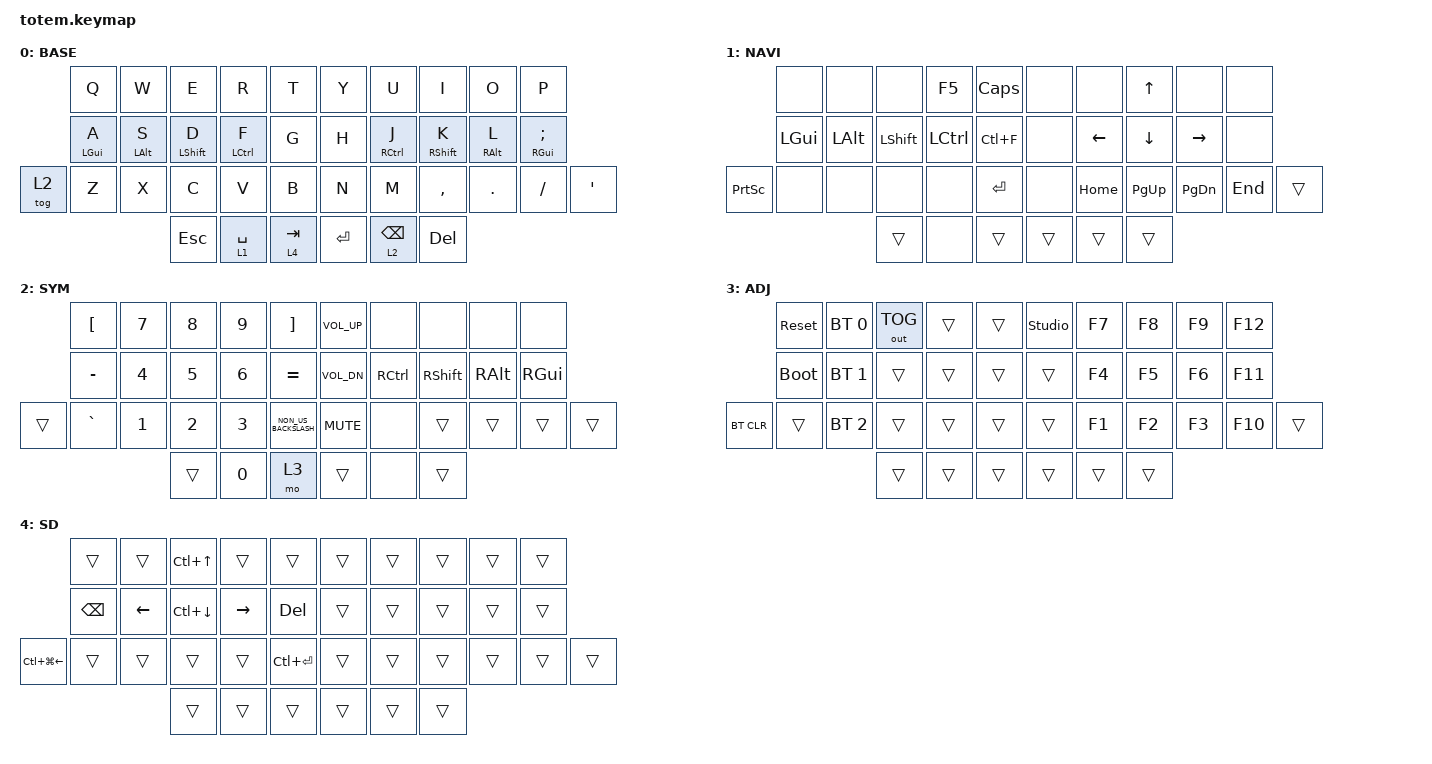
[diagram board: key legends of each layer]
//
//                                                        ▀▀▀▀▀     ▀▀▀▀▀          ▀▀█▀▀
//                                                        ▄▀▀▀▄  ▄  ▄▀▀▀▄  ▄  ▄▀▀▀▄  █  ▄▀▀▀▄
//                                                        █   █  █  █   █  █  █   █  █  █   █
//                                                         ▀▀▀   █   ▀▀▀   █   ▀▀▀   ▀   ▀▀▀
//                                                               █      ▄▄▄█▄▄▄    █   █  
//                                                               ▀      █  █  █     █▄█
//                                                             ▀▀▀▀▀    █  █  █      ▀
//                                                                      ▀  ▀  ▀
//
// ▄▄▄▄▄▄▄▄▄▄▄▄▄▄▄▄▄▄▄▄▄▄▄▄▄▄▄▄▄▄▄▄▄▄▄▄▄▄▄▄▄▄▄▄▄▄▄▄▄▄▄▄▄▄▄▄▄▄▄▄▄▄▄▄▄▄▄▄▄▄▄▄▄▄▄▄▄▄▄▄▄▄▄▄▄▄▄▄▄▄▄▄▄▄▄▄▄▄▄▄▄▄▄▄▄▄▄▄▄▄▄▄▄▄▄▄▄▄▄▄▄▄▄▄▄▄▄▄▄▄▄▄▄▄▄▄▄▄▄▄▄▄▄▄▄▄▄▄▄

#include <behaviors.dtsi>
#include <dt-bindings/zmk/bt.h>
#include <dt-bindings/zmk/keys.h>
#include <dt-bindings/zmk/outputs.h>

#define BASE 0
#define NAV  1
#define SYM  2
#define ADJ  3
#define TVP1 4
#define TVP2 5

&mt {
    quick-tap-ms = <175>;
    global-quick-tap;
    flavor = "tap-preferred";
    tapping-term-ms = <190>;
};

&lt {
    quick-tap-ms = <175>;
    tapping-term-ms = <190>;
};

/ {
    combos { compatible = "zmk,combos"; };

    macros {
        gif: gif {
            compatible = "zmk,behavior-macro";
            #binding-cells = <0>;
            bindings =
                <&macro_press>,
                <&kp LSHFT>,
                <&macro_tap>,
                <&kp N2>,
                <&macro_release>,
                <&kp LSHFT>,
                <&macro_tap>,
                <&kp G &kp I &kp F>;
        };
    };

    keymap {
        compatible = "zmk,keymap";

        // ▄▄▄▄▄▄▄▄▄▄▄▄▄▄▄▄▄▄▄▄▄▄▄▄▄▄▄▄▄▄▄▄▄▄▄▄▄▄▄▄▄▄▄▄▄▄▄▄▄▄▄▄▄▄▄▄▄▄▄▄▄▄▄▄▄▄▄▄▄▄▄▄▄▄▄▄▄▄▄▄▄▄▄▄▄▄▄▄▄▄▄▄▄▄▄▄▄▄▄▄▄▄▄▄▄▄▄▄▄▄▄▄▄▄▄▄▄▄▄▄▄▄▄▄▄▄▄▄▄▄▄▄▄▄▄▄▄▄▄▄▄▄▄▄▄▄▄▄▄

        base_layer {
            // ┏━━━━━━━━━━━━━━━━━━━━━━━━━━━━━━━━━━━━━━━┓

            display-name = "BASE";

            // ┗━━━━━━━━━━━━━━━━━━━━━━━━━━━━━━━━━━━━━━━┛
            //             ┏━━━━━━━━━━━┳━━━━━━━━━━━┳━━━━━━━━━━━┳━━━━━━━━━━━┳━━━━━━━━━━━┓   ┏━━━━━━━━━━━┳━━━━━━━━━━━┳━━━━━━━━━━━┳━━━━━━━━━━━┳━━━━━━━━━━━┓
            //             ┃     Q     ┃     W     ┃     F     ┃     P     ┃     G     ┃   ┃     J     ┃     L     ┃     U     ┃     Y     ┃     ;     ┃
            //             ┣━━━━━━━━━━━╋━━━━━━━━━━━╋━━━━━━━━━━━╋━━━━━━━━━━━╋━━━━━━━━━━━┫   ┣━━━━━━━━━━━╋━━━━━━━━━━━╋━━━━━━━━━━━╋━━━━━━━━━━━╋━━━━━━━━━━━┫
            //             ┃     A     ┃     R     ┃     S     ┃     T     ┃     D     ┃   ┃     H     ┃     N     ┃     E     ┃     I     ┃     O     ┃
            // ┏━━━━━━━━━━━╋━━━━━━━━━━━╋━━━━━━━━━━━╋━━━━━━━━━━━╋━━━━━━━━━━━╋━━━━━━━━━━━┫   ┣━━━━━━━━━━━╋━━━━━━━━━━━╋━━━━━━━━━━━╋━━━━━━━━━━━╋━━━━━━━━━━━╋━━━━━━━━━━━┓
            // ┃     Q     ┃     Z     ┃     X     ┃     C     ┃     V     ┃     B     ┃   ┃     K     ┃     M     ┃     ,     ┃     .     ┃     /     ┃     \     ┃
            // ┗━━━━━━━━━━━┻━━━━━━━━━━━┻━━━━━━━━━━━╋━━━━━━━━━━━╋━━━━━━━━━━━╋━━━━━━━━━━━┫   ┣━━━━━━━━━━━╋━━━━━━━━━━━╋━━━━━━━━━━━╋━━━━━━━━━━━┻━━━━━━━━━━━┻━━━━━━━━━━━┛
            //                                     ┃    DEL    ┃    TAB    ┃    SPC    ┃   ┃   ENTER   ┃           ┃   BSPC    ┃
            //                                     ┗━━━━━━━━━━━┻━━━━━━━━━━━┻━━━━━━━━━━━┛   ┗━━━━━━━━━━━┻━━━━━━━━━━━┻━━━━━━━━━━━┛

            bindings = <
        &kp Q       &kp W       &kp E        &kp R        &kp T        &kp Y    &kp U            &kp I        &kp O       &kp P
        &mt LGUI A  &mt LALT S  &mt LSHFT D  &mt LCTRL F  &kp G        &kp H    &mt RCTRL J      &mt RSHFT K  &mt RALT L  &mt RGUI SEMICOLON
&tog 2  &kp Z       &kp X       &kp C        &kp V        &kp B        &kp N    &kp M            &kp COMMA    &kp DOT     &kp FSLH            &kp SQT
                                &kp ESCAPE   &lt 1 SPACE  &lt 4 TAB    &kp RET  &lt 2 BACKSPACE  &kp DELETE
            >;
        };

        // ▄▄▄▄▄▄▄▄▄▄▄▄▄▄▄▄▄▄▄▄▄▄▄▄▄▄▄▄▄▄▄▄▄▄▄▄▄▄▄▄▄▄▄▄▄▄▄▄▄▄▄▄▄▄▄▄▄▄▄▄▄▄▄▄▄▄▄▄▄▄▄▄▄▄▄▄▄▄▄▄▄▄▄▄▄▄▄▄▄▄▄▄▄▄▄▄▄▄▄▄▄▄▄▄▄▄▄▄▄▄▄▄▄▄▄▄▄▄▄▄▄▄▄▄▄▄▄▄▄▄▄▄▄▄▄▄▄▄▄▄▄▄▄▄▄▄▄▄▄

        nav_layer {
            // ┏━━━━━━━━━━━━━━━━━━━━━━━━━━━━━━━━━━━━━━━┓

            display-name = "NAVI";

            // ┗━━━━━━━━━━━━━━━━━━━━━━━━━━━━━━━━━━━━━━━┛
            //             ┏━━━━━━━━━━━┳━━━━━━━━━━━┳━━━━━━━━━━━┳━━━━━━━━━━━┳━━━━━━━━━━━┓   ┏━━━━━━━━━━━┳━━━━━━━━━━━┳━━━━━━━━━━━┳━━━━━━━━━━━┳━━━━━━━━━━━┓
            //             ┃           ┃           ┃     UP    ┃           ┃     {     ┃   ┃     }     ┃     7     ┃     8     ┃     9     ┃     +     ┃
            //             ┣━━━━━━━━━━━╋━━━━━━━━━━━╋━━━━━━━━━━━╋━━━━━━━━━━━╋━━━━━━━━━━━┫   ┣━━━━━━━━━━━╋━━━━━━━━━━━╋━━━━━━━━━━━╋━━━━━━━━━━━╋━━━━━━━━━━━┫
            //             ┃   SHIFT   ┃   LEFT    ┃    DOWN   ┃   RIGHT   ┃     [     ┃   ┃     ]     ┃     4     ┃     5     ┃     6     ┃     -     ┃
            // ┏━━━━━━━━━━━╋━━━━━━━━━━━╋━━━━━━━━━━━╋━━━━━━━━━━━╋━━━━━━━━━━━╋━━━━━━━━━━━┫   ┣━━━━━━━━━━━╋━━━━━━━━━━━╋━━━━━━━━━━━╋━━━━━━━━━━━╋━━━━━━━━━━━╋━━━━━━━━━━━┓
            // ┃           ┃           ┃   P UP    ┃  C LOCK   ┃  P DOWN   ┃     (     ┃   ┃     )     ┃     1     ┃     2     ┃     3     ┃     *     ┃           ┃
            // ┗━━━━━━━━━━━┻━━━━━━━━━━━┻━━━━━━━━━━━╋━━━━━━━━━━━╋━━━━━━━━━━━╋━━━━━━━━━━━┫   ┣━━━━━━━━━━━╋━━━━━━━━━━━╋━━━━━━━━━━━╋━━━━━━━━━━━┻━━━━━━━━━━━┻━━━━━━━━━━━┛
            //                                     ┃           ┃    TAB    ┃    SPC    ┃   ┃    DEL    ┃     0     ┃           ┃
            //                                     ┗━━━━━━━━━━━┻━━━━━━━━━━━┻━━━━━━━━━━━┛   ┗━━━━━━━━━━━┻━━━━━━━━━━━┻━━━━━━━━━━━┛

            bindings = <
                 &none     &none         &none      &kp F5     &kp CAPS     &none   &none           &kp UP_ARROW    &none            &none
                 &kp LGUI  &kp LEFT_ALT  &kp LSHFT  &kp LCTRL  &kp LC(F)    &none   &kp LEFT_ARROW  &kp DOWN_ARROW  &kp RIGHT_ARROW  &none
&kp PRINTSCREEN  &none     &none         &none      &none      &kp ENTER    &none   &kp HOME        &kp PAGE_UP     &kp PAGE_DOWN    &kp END  &trans
                                         &trans     &none      &trans       &trans  &trans          &trans
            >;
        };

        // ▄▄▄▄▄▄▄▄▄▄▄▄▄▄▄▄▄▄▄▄▄▄▄▄▄▄▄▄▄▄▄▄▄▄▄▄▄▄▄▄▄▄▄▄▄▄▄▄▄▄▄▄▄▄▄▄▄▄▄▄▄▄▄▄▄▄▄▄▄▄▄▄▄▄▄▄▄▄▄▄▄▄▄▄▄▄▄▄▄▄▄▄▄▄▄▄▄▄▄▄▄▄▄▄▄▄▄▄▄▄▄▄▄▄▄▄▄▄▄▄▄▄▄▄▄▄▄▄▄▄▄▄▄▄▄▄▄▄▄▄▄▄▄▄▄▄▄▄▄

        sim_layer {
            // ┏━━━━━━━━━━━━━━━━━━━━━━━━━━━━━━━━━━━━━━━┓

            display-name = "SYM";

            // ┗━━━━━━━━━━━━━━━━━━━━━━━━━━━━━━━━━━━━━━━┛
            //             ┏━━━━━━━━━━━┳━━━━━━━━━━━┳━━━━━━━━━━━┳━━━━━━━━━━━┳━━━━━━━━━━━┓   ┏━━━━━━━━━━━┳━━━━━━━━━━━┳━━━━━━━━━━━┳━━━━━━━━━━━┳━━━━━━━━━━━┓
            //             ┃     !     ┃     @     ┃     #     ┃     $     ┃     %     ┃   ┃     ˆ     ┃     &     ┃     Ü     ┃     '     ┃     "     ┃
            //             ┣━━━━━━━━━━━╋━━━━━━━━━━━╋━━━━━━━━━━━╋━━━━━━━━━━━╋━━━━━━━━━━━┫   ┣━━━━━━━━━━━╋━━━━━━━━━━━╋━━━━━━━━━━━╋━━━━━━━━━━━╋━━━━━━━━━━━┫
            //             ┃     Ä     ┃           ┃    SZ     ┃           ┃           ┃   ┃   MUTE    ┃   YEN     ┃   EURO    ┃  POUND    ┃     Ö     ┃
            // ┏━━━━━━━━━━━╋━━━━━━━━━━━╋━━━━━━━━━━━╋━━━━━━━━━━━╋━━━━━━━━━━━╋━━━━━━━━━━━┫   ┣━━━━━━━━━━━╋━━━━━━━━━━━╋━━━━━━━━━━━╋━━━━━━━━━━━╋━━━━━━━━━━━╋━━━━━━━━━━━┓
            // ┃           ┃  EMAIL1   ┃  EMAIL2   ┃           ┃           ┃           ┃   ┃   VOL-    ┃   VOL+    ┃   LAST    ┃   NEXT    ┃     \     ┃           ┃
            // ┗━━━━━━━━━━━┻━━━━━━━━━━━┻━━━━━━━━━━━╋━━━━━━━━━━━╋━━━━━━━━━━━╋━━━━━━━━━━━┫   ┣━━━━━━━━━━━╋━━━━━━━━━━━╋━━━━━━━━━━━╋━━━━━━━━━━━┻━━━━━━━━━━━┻━━━━━━━━━━━┛
            //                                     ┃           ┃    GIF    ┃    ADJ    ┃   ┃           ┃           ┃           ┃
            //                                     ┗━━━━━━━━━━━┻━━━━━━━━━━━┻━━━━━━━━━━━┛   ┗━━━━━━━━━━━┻━━━━━━━━━━━┻━━━━━━━━━━━┛

            bindings = <
        &kp LEFT_BRACKET  &kp N7        &kp N8        &kp N9        &kp RIGHT_BRACKET       &kp C_VOL_UP  &none      &none      &none          &none
        &kp MINUS         &kp NUMBER_4  &kp N5        &kp NUMBER_6  &kp EQUAL               &kp C_VOL_DN  &kp RCTRL  &kp RSHFT  &kp RIGHT_ALT  &kp RGUI
&trans  &kp GRAVE         &kp NUMBER_1  &kp NUMBER_2  &kp NUMBER_3  &kp NON_US_BACKSLASH    &kp C_MUTE    &none      &trans     &trans         &trans    &trans
                                        &trans        &kp N0        &mo 3                   &trans        &none      &trans
            >;
        };

        // ▄▄▄▄▄▄▄▄▄▄▄▄▄▄▄▄▄▄▄▄▄▄▄▄▄▄▄▄▄▄▄▄▄▄▄▄▄▄▄▄▄▄▄▄▄▄▄▄▄▄▄▄▄▄▄▄▄▄▄▄▄▄▄▄▄▄▄▄▄▄▄▄▄▄▄▄▄▄▄▄▄▄▄▄▄▄▄▄▄▄▄▄▄▄▄▄▄▄▄▄▄▄▄▄▄▄▄▄▄▄▄▄▄▄▄▄▄▄▄▄▄▄▄▄▄▄▄▄▄▄▄▄▄▄▄▄▄▄▄▄▄▄▄▄▄▄▄▄▄

        adjust_layer {
            // ┏━━━━━━━━━━━━━━━━━━━━━━━━━━━━━━━━━━━━━━━┓

            display-name = "ADJ";

            // ┗━━━━━━━━━━━━━━━━━━━━━━━━━━━━━━━━━━━━━━━┛
            //             ┏━━━━━━━━━━━┳━━━━━━━━━━━┳━━━━━━━━━━━┳━━━━━━━━━━━┳━━━━━━━━━━━┓   ┏━━━━━━━━━━━┳━━━━━━━━━━━┳━━━━━━━━━━━┳━━━━━━━━━━━┳━━━━━━━━━━━┓
            //             ┃   RESET   ┃ BT CLEAR  ┃  OUT TOG  ┃           ┃           ┃   ┃           ┃    F7     ┃    F8     ┃    F9     ┃    F12    ┃
            //             ┣━━━━━━━━━━━╋━━━━━━━━━━━╋━━━━━━━━━━━╋━━━━━━━━━━━╋━━━━━━━━━━━┫   ┣━━━━━━━━━━━╋━━━━━━━━━━━╋━━━━━━━━━━━╋━━━━━━━━━━━╋━━━━━━━━━━━┫
            //             ┃ BOOTLOAD  ┃ BT NEXT   ┃           ┃           ┃           ┃   ┃           ┃    F4     ┃    F5     ┃    F6     ┃    F11    ┃
            // ┏━━━━━━━━━━━╋━━━━━━━━━━━╋━━━━━━━━━━━╋━━━━━━━━━━━╋━━━━━━━━━━━╋━━━━━━━━━━━┫   ┣━━━━━━━━━━━╋━━━━━━━━━━━╋━━━━━━━━━━━╋━━━━━━━━━━━╋━━━━━━━━━━━╋━━━━━━━━━━━┓
            // ┃           ┃           ┃ BT PREV   ┃           ┃           ┃           ┃   ┃           ┃    F1     ┃    F2     ┃    F3     ┃    F10    ┃           ┃
            // ┗━━━━━━━━━━━┻━━━━━━━━━━━┻━━━━━━━━━━━╋━━━━━━━━━━━╋━━━━━━━━━━━╋━━━━━━━━━━━┫   ┣━━━━━━━━━━━╋━━━━━━━━━━━╋━━━━━━━━━━━╋━━━━━━━━━━━┻━━━━━━━━━━━┻━━━━━━━━━━━┛
            //                                     ┃           ┃           ┃           ┃   ┃           ┃           ┃           ┃
            //                                     ┗━━━━━━━━━━━┻━━━━━━━━━━━┻━━━━━━━━━━━┛   ┗━━━━━━━━━━━┻━━━━━━━━━━━┻━━━━━━━━━━━┛

            bindings = <
            &sys_reset   &bt BT_SEL 0  &out OUT_TOG  &trans  &trans    &studio_unlock  &kp F7  &kp F8  &kp F9  &kp F12
            &bootloader  &bt BT_SEL 1  &trans        &trans  &trans    &trans          &kp F4  &kp F5  &kp F6  &kp F11
&bt BT_CLR  &trans       &bt BT_SEL 2  &trans        &trans  &trans    &trans          &kp F1  &kp F2  &kp F3  &kp F10  &trans
                                       &trans        &trans  &trans    &trans          &trans  &trans
            >;
        };

        sd_layer {
            bindings = <
                  &trans         &trans          &kp LC(UP_ARROW)  &trans           &trans           &trans  &trans  &trans  &trans  &trans
                  &kp BACKSPACE  &kp LEFT_ARROW  &kp LC(DOWN)      &kp RIGHT_ARROW  &kp DEL          &trans  &trans  &trans  &trans  &trans
&kp LC(LG(LEFT))  &trans         &trans          &trans            &trans           &kp LC(ENTER)    &trans  &trans  &trans  &trans  &trans  &trans
                                                 &trans            &trans           &trans           &trans  &trans  &trans
            >;

            label = "SD";
        };

        // ▄▄▄▄▄▄▄▄▄▄▄▄▄▄▄▄▄▄▄▄▄▄▄▄▄▄▄▄▄▄▄▄▄▄▄▄▄▄▄▄▄▄▄▄▄▄▄▄▄▄▄▄▄▄▄▄▄▄▄▄▄▄▄▄▄▄▄▄▄▄▄▄▄▄▄▄▄▄▄▄▄▄▄▄▄▄▄▄▄▄▄▄▄▄▄▄▄▄▄▄▄▄▄▄▄▄▄▄▄▄▄▄▄▄▄▄▄▄▄▄▄▄▄▄▄▄▄▄▄▄▄▄▄▄▄▄▄▄▄▄▄▄▄▄▄▄▄▄▄
        // ▄▄▄▄▄▄▄▄▄▄▄▄▄▄▄▄▄▄▄▄▄▄▄▄▄▄▄▄▄▄▄▄▄▄▄▄▄▄▄▄▄▄▄▄▄▄▄▄▄▄▄▄▄▄▄▄▄▄▄▄▄▄▄▄▄▄▄▄▄▄▄▄▄▄▄▄▄▄▄▄▄▄▄▄▄▄▄▄▄▄▄▄▄▄▄▄▄▄▄▄▄▄▄▄▄▄▄▄▄▄▄▄▄▄▄▄▄▄▄▄▄▄▄▄▄▄▄▄▄▄▄▄▄▄▄▄▄▄▄▄▄▄▄▄▄▄▄▄▄
    };
};
